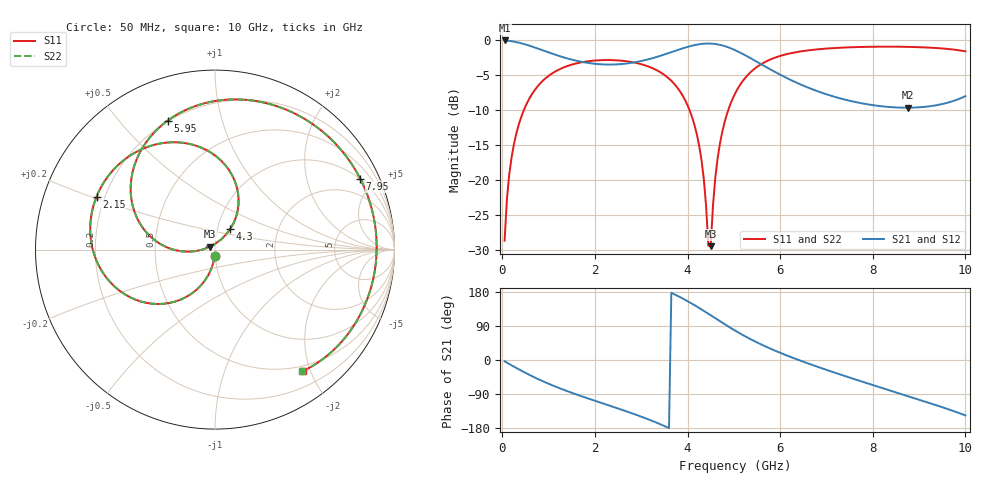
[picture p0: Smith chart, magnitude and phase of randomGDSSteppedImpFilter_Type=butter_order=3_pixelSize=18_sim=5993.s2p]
! freq	dB(S11)	phase(S11)	dB(S12)	phase(S12)
!  dB(S21)	phase(S21)	dB(S22)	phase(S22)
!S-par simulation data
#  GHz  S  DB  R 50
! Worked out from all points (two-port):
!   200 points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, 50 MHz to 10 GHz, reference 50 ohm
!   highest |S21| = -0.01 dB at 50 MHz (marker M1); lowest = -9.6 dB at 8.75 GHz (marker M2)
!   |S21| within 3 dB of the highest: start of sweep to 1.673 GHz; 2.955 GHz to 5.486 GHz (2.531 GHz wide, 60 % of centre)
!   lowest |S11| = -29.4 dB at 4.5 GHz (marker M3), VSWR 1.07, Z = 47 + j1.46 ohm
!   |S11| at or under -10 dB: start of sweep to 463 MHz; 4.046 GHz to 4.877 GHz (831.5 MHz wide, 18.6 % of centre)
!   |S22| runs from -29.4 to -0.9 dB; largest |S21 - S12| = 0
!   S11 on the Smith chart (normalised r, x): 50 MHz: 0.99, -0.07; 2.15 GHz: 0.17, +0.21; 4.3 GHz: 1.15, +0.27; 5.95 GHz: 0.20, +0.68; 7.95 GHz: 0.98, +4.11; 10 GHz: 0.42, -1.88
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0.05  -28.60 -93.7  -0.01 -3.6  -0.01 -3.6  -28.60 -93.7
0.1  -22.61 -97.4  -0.03 -7.1  -0.03 -7.1  -22.61 -97.4
0.2  -16.73 -104.5  -0.12 -14.0  -0.12 -14.0  -16.73 -104.5
0.5  -9.42 -124.5  -0.58 -33.9  -0.58 -33.9  -9.42 -124.5
1  -5.06 -153.2  -1.72 -62.7  -1.72 -62.7  -5.06 -153.2
1.75  -3.08 172.2  -3.11 -97.3  -3.11 -97.3  -3.08 172.3
2.15  -2.82 155.9  -3.42 -113.7  -3.42 -113.7  -2.82 155.9
3.4  -4.49 101.7  -2.23 -168.9  -2.23 -168.9  -4.49 101.7
3.95  -8.56 71.2  -1.03 158.7  -1.03 158.7  -8.56 71.2
4.3  -17.01 53.5  -0.51 133.6  -0.51 133.6  -17.02 53.4
4.45  -29.33 84.3  -0.45 122.0  -0.45 122.0  -29.39 84.1
4.5  -29.38 152.9  -0.45 118.1  -0.45 118.1  -29.44 153.1
4.6  -19.59 -175.7  -0.51 110.2  -0.51 110.2  -19.59 -175.5
4.7  -14.73 -176.9  -0.63 102.3  -0.63 102.3  -14.73 -176.8
5.05  -7.30 162.0  -1.46 75.9  -1.46 75.9  -7.30 162.0
5.45  -4.04 137.1  -2.87 49.4  -2.87 49.4  -4.04 137.1
5.95  -2.32 110.2  -4.72 21.6  -4.72 21.6  -2.32 110.2
6.7  -1.35 76.1  -6.99 -13.3  -6.99 -13.3  -1.35 76.0
7.95  -0.91 26.0  -9.20 -64.1  -9.20 -64.1  -0.91 25.9
8.35  -0.89 10.7  -9.51 -79.7  -9.51 -79.7  -0.89 10.5
8.75  -0.92 -4.6  -9.61 -95.1  -9.61 -95.1  -0.92 -4.7
10  -1.56 -54.2  -7.96 -146.2  -7.96 -146.2  -1.56 -54.3
